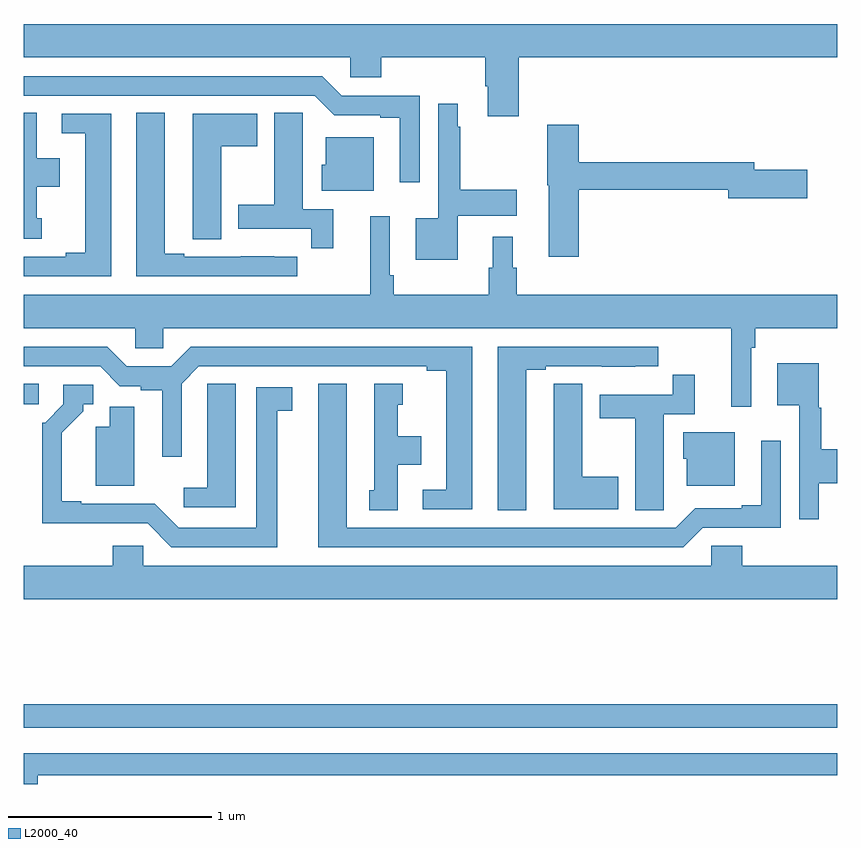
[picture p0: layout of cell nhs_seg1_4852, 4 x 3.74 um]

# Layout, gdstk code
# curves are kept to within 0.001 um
import gdstk
lib = gdstk.Library(unit=1e-6, precision=1e-09)
def R(c, l, rs):  # rectangles x0, y0, x1, y1
    for r in rs: c.add(gdstk.rectangle(r[:2], r[2:], *l))
def P(c, l, *ps):  # polygons
    for p in ps: c.add(gdstk.Polygon(p, *l))
L2000_40 = (2000, 40)

nhs_seg1_4852 = lib.new_cell('nhs_seg1_4852')
R(nhs_seg1_4852, L2000_40, [(375,508.476,379,508.592), (375,510.066,375.073,510.167)])
P(nhs_seg1_4852, L2000_40, [(377.435,511.772),(379,511.772),(379,511.936),(375,511.936),(375,511.772),(376.605,511.772),(376.605,511.674),(376.757,511.674),(376.757,511.772),(377.27,511.772),(377.27,511.63),(377.282,511.63),(377.282,511.482),(377.435,511.482)],
  [(376.947,511.584),(376.563,511.584),(376.467,511.68),(375,511.68),(375,511.584),(376.431,511.584),(376.527,511.488),(376.754,511.488),(376.754,511.476),(376.85,511.476),(376.85,511.158),(376.947,511.158)],
  [(377.134,510.992),(377.425,510.992),(377.425,511.122),(377.146,511.122),(377.146,511.43),(377.134,511.43),(377.134,511.543),(377.037,511.543),(377.037,510.982),(376.928,510.982),(376.928,510.776),(377.134,510.776)],
  [(376.345,510.792),(376.232,510.792),(376.232,510.793),(376.066,510.793),(376.066,510.792),(375.79,510.792),(375.79,510.807),(375.694,510.807),(375.694,511.499),(375.554,511.499),(375.554,510.696),(376.345,510.696)],
  [(375.088,510.981),(375.064,510.981),(375.064,511.136),(375.178,511.136),(375.178,511.276),(375.064,511.276),(375.064,511.499),(375,511.499),(375,510.879),(375.088,510.879)],
  [(376.523,511.026),(376.372,511.026),(376.372,511.388),(376.371,511.388),(376.371,511.499),(376.232,511.499),(376.232,511.047),(376.055,511.047),(376.055,510.93),(376.414,510.93),(376.414,510.834),(376.523,510.834)],
  [(375.97,511.336),(376.147,511.336),(376.147,511.495),(375.83,511.495),(375.83,510.985),(375.831,510.985),(375.831,510.877),(375.97,510.877)],
  [(375.43,511.494),(375.186,511.494),(375.186,511.398),(375.302,511.398),(375.302,510.812),(375.206,510.812),(375.206,510.792),(375,510.792),(375,510.696),(375.43,510.696)],
  [(377.729,511.12),(378.464,511.12),(378.464,511.078),(378.853,511.078),(378.853,511.22),(378.592,511.22),(378.592,511.256),(377.729,511.256),(377.729,511.441),(377.575,511.441),(377.575,511.143),(377.582,511.143),(377.582,510.792),(377.729,510.792)],
  [(376.72,511.378),(376.484,511.378),(376.484,511.245),(376.466,511.245),(376.466,511.115),(376.72,511.115)],
  [(378.576,510.344),(378.596,510.344),(378.596,510.44),(379,510.44),(379,510.604),(377.423,510.604),(377.423,510.738),(377.404,510.738),(377.404,510.889),(377.306,510.889),(377.306,510.738),(377.287,510.738),(377.287,510.604),(376.82,510.604),(376.82,510.7),(376.8,510.7),(376.8,510.991),(376.703,510.991),(376.703,510.604),(375,510.604),(375,510.44),(375.549,510.44),(375.549,510.342),(375.687,510.342),(375.687,510.44),(378.479,510.44),(378.479,510.054),(378.576,510.054)],
  [(377.206,510.348),(375.821,510.348),(375.725,510.252),(375.507,510.252),(375.411,510.348),(375,510.348),(375,510.252),(375.375,510.252),(375.471,510.156),(375.576,510.156),(375.576,510.136),(375.68,510.136),(375.68,509.808),(375.777,509.808),(375.777,510.168),(375.861,510.252),(376.982,510.252),(376.982,510.232),(377.078,510.232),(377.078,509.646),(376.962,509.646),(376.962,509.55),(377.206,509.55)],
  [(377.47,510.237),(377.566,510.237),(377.566,510.252),(377.842,510.252),(377.842,510.251),(378.008,510.251),(378.008,510.252),(378.121,510.252),(378.121,510.348),(377.33,510.348),(377.33,509.545),(377.47,509.545)],
  [(378.91,509.678),(379,509.678),(379,509.844),(378.922,509.844),(378.922,510.048),(378.91,510.048),(378.91,510.268),(378.704,510.268),(378.704,510.062),(378.813,510.062),(378.813,509.502),(378.91,509.502)],
  [(378.147,509.656),(378.148,509.656),(378.148,510.018),(378.299,510.018),(378.299,510.211),(378.19,510.211),(378.19,510.114),(377.831,510.114),(377.831,509.998),(378.008,509.998),(378.008,509.545),(378.147,509.545)],
  [(376.042,510.167),(375.903,510.167),(375.903,510.059),(375.902,510.059),(375.902,509.656),(375.786,509.656),(375.786,509.559),(376.042,509.559)],
  [(377.923,509.709),(377.746,509.709),(377.746,510.167),(377.607,510.167),(377.607,510.059),(377.606,510.059),(377.606,509.549),(377.923,509.549)],
  [(378.339,509.46),(378.723,509.46),(378.723,509.887),(378.626,509.887),(378.626,509.569),(378.53,509.569),(378.53,509.556),(378.303,509.556),(378.207,509.46),(376.588,509.46),(376.588,510.166),(376.448,510.166),(376.448,509.364),(378.243,509.364)],
  [(376.84,509.768),(376.954,509.768),(376.954,509.908),(376.84,509.908),(376.84,510.063),(376.864,510.063),(376.864,510.166),(376.724,510.166),(376.724,509.643),(376.7,509.643),(376.7,509.545),(376.84,509.545)],
  [(376.246,510.034),(376.321,510.034),(376.321,510.15),(376.142,510.15),(376.142,509.46),(375.762,509.46),(375.645,509.577),(375.283,509.577),(375.283,509.59),(375.187,509.59),(375.187,509.926),(375.292,510.031),(375.292,510.066),(375.342,510.066),(375.342,510.162),(375.195,510.162),(375.195,510.066),(375.105,509.976),(375.09,509.976),(375.09,509.48),(375.609,509.481),(375.726,509.364),(376.246,509.364)],
  [(375.544,510.054),(375.422,510.054),(375.422,509.956),(375.353,509.956),(375.353,509.666),(375.544,509.666)],
  [(378.496,509.929),(378.242,509.929),(378.242,509.799),(378.26,509.799),(378.26,509.666),(378.496,509.666)],
  [(379,509.272),(378.533,509.272),(378.533,509.37),(378.381,509.37),(378.381,509.272),(375.588,509.272),(375.588,509.37),(375.437,509.37),(375.437,509.272),(375,509.272),(375,509.108),(379,509.108)],
  [(375.07,508.242),(379,508.242),(379,508.35),(375,508.35),(375,508.199),(375.07,508.199)])

lib.write_gds('nhs_seg1_4852.gds')
